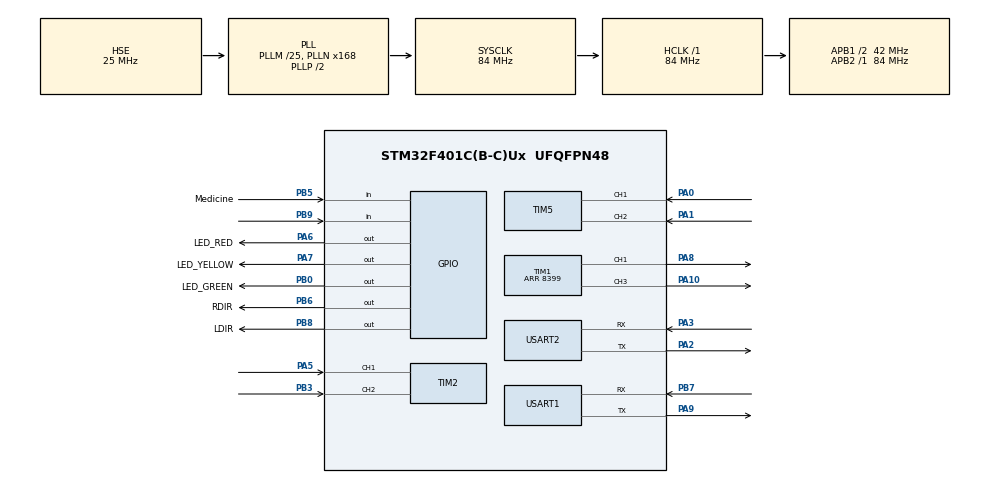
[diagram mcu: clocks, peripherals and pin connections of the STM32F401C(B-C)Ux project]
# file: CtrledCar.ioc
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Mcu.Family=STM32F4
Mcu.Name=STM32F401C(B-C)Ux
Mcu.Package=UFQFPN48
NVIC.PriorityGroup=NVIC_PRIORITYGROUP_4
NVIC.TIM3_IRQn=true\:2\:0\:true\:false\:true\:true\:true
NVIC.USART1_IRQn=true\:1\:0\:true\:false\:true\:true\:true
NVIC.USART2_IRQn=true\:1\:0\:true\:false\:true\:true\:true
PA0-WKUP.Signal=S_TIM5_CH1
PA1.Signal=S_TIM5_CH2
PA10.Signal=S_TIM1_CH3
PA2.Mode=Asynchronous
PA2.Signal=USART2_TX
PA3.Mode=Asynchronous
PA3.Signal=USART2_RX
PA5.Signal=S_TIM2_CH1_ETR
PA6.GPIO_Label=LED_RED
PA6.Signal=GPIO_Output
PA7.GPIO_Label=LED_YELLOW
PA7.Signal=GPIO_Output
PA8.Signal=S_TIM1_CH1
PA9.Mode=Asynchronous
PA9.Signal=USART1_TX
PB0.GPIO_Label=LED_GREEN
PB0.Signal=GPIO_Output
PB3.Signal=S_TIM2_CH2
PB5.GPIO_Label=Medicine
PB5.GPIO_PuPd=GPIO_PULLUP
PB5.Signal=GPIO_Input
PB6.GPIO_Label=RDIR
PB6.Signal=GPIO_Output
PB7.Mode=Asynchronous
PB7.Signal=USART1_RX
PB8.GPIO_Label=LDIR
PB8.Signal=GPIO_Output
PB9.GPIO_PuPd=GPIO_PULLDOWN
PB9.Signal=GPIO_Input
PH0\ -\ OSC_IN.Mode=HSE-External-Oscillator
PH0\ -\ OSC_IN.Signal=RCC_OSC_IN
PH1\ -\ OSC_OUT.Mode=HSE-External-Oscillator
PH1\ -\ OSC_OUT.Signal=RCC_OSC_OUT
ProjectManager.HeapSize=0x200
ProjectManager.StackSize=0x400
ProjectManager.TargetToolchain=STM32CubeIDE
RCC.48MHZClocksFreq_Value=42000000
RCC.AHBFreq_Value=84000000
RCC.APB1CLKDivider=RCC_HCLK_DIV2
RCC.APB1Freq_Value=42000000
RCC.APB1TimFreq_Value=84000000
RCC.APB2Freq_Value=84000000
RCC.APB2TimFreq_Value=84000000
RCC.CortexFreq_Value=84000000
RCC.HCLKFreq_Value=84000000
RCC.HSE_VALUE=25000000
RCC.HSI_VALUE=16000000
RCC.LSE_VALUE=32768
RCC.PLLM=25
RCC.PLLN=168
RCC.PLLSourceVirtual=RCC_PLLSOURCE_HSE
RCC.SYSCLKFreq_VALUE=84000000
RCC.SYSCLKSource=RCC_SYSCLKSOURCE_PLLCLK
RCC.VCOOutputFreq_Value=168000000
SH.S_TIM1_CH1.0=TIM1_CH1,PWM Generation1 CH1
SH.S_TIM1_CH3.0=TIM1_CH3,PWM Generation3 CH3
SH.S_TIM2_CH1_ETR.0=TIM2_CH1,Encoder_Interface
SH.S_TIM2_CH2.0=TIM2_CH2,Encoder_Interface
SH.S_TIM5_CH1.0=TIM5_CH1,Encoder_Interface
SH.S_TIM5_CH2.0=TIM5_CH2,Encoder_Interface
TIM1.Channel-PWM\ Generation1\ CH1=TIM_CHANNEL_1
TIM1.Channel-PWM\ Generation3\ CH3=TIM_CHANNEL_3
TIM1.Period=8399
TIM3.Period=999
TIM3.Prescaler=83
USART1.VirtualMode=VM_ASYNC
USART2.VirtualMode=VM_ASYNC
VP_TIM1_VS_ClockSourceINT.Mode=Internal
VP_TIM3_VS_ClockSourceINT.Mode=Internal
board=custom

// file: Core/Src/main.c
/* USER CODE BEGIN Header */
/**
  ******************************************************************************
  * @file           : main.c
  * @brief          : Main program body
  ******************************************************************************
  * @attention
  *
  * <h2><center>&copy; Copyright (c) 2021 STMicroelectronics.
  * All rights reserved.</center></h2>
  *
  * This software component is licensed by ST under BSD 3-Clause license,
  * the "License"; You may not use this file except in compliance with the
  * License. You may obtain a copy of the License at:
  *                        opensource.org/licenses/BSD-3-Clause
  *
  ******************************************************************************
  */
/* USER CODE END Header */
#include "main.h"
#include "tim.h"
#include "usart.h"
#include "gpio.h"

/* USER CODE BEGIN Includes */
#include "Debug.h"
#include "user.h"
#include "timepiece.h"
/* USER CODE END Includes */

/* USER CODE BEGIN PV */
uint8_t data, crossHistroy;
extern pid leftspd, rightspd, dir;
extern uint8_t mainState, subState, Tflag, TStateflag, delayFlag1, delayPreFlag1, delayFlag2, turnFlag, delayPreFlag2, dottedFlag, getCross, getT, forceTurn, crossState, dataFrame;
extern double shadowDirOut, basicLeftSpd, basicRightSpd;
extern char command;

task_t tasks[] = {
        {0, 10, TaskHandlerDeclare(PIDControl),  0},
        {1, 2,  TaskHandlerDeclare(StateDetect), 0},
        {2, 10, TaskHandlerDeclare(LogOutput),   0},
        {3, 2,  TaskHandlerDeclare(CrossDelay),  0}
};
/* USER CODE END PV */

void SystemClock_Config(void);

int main(void) {

    /* MCU Configuration--------------------------------------------------------*/

    /* Reset of all peripherals, Initializes the Flash interface and the Systick. */
    HAL_Init();

    /* Configure the system clock */
    SystemClock_Config();

    /* Initialize all configured peripherals */
    MX_GPIO_Init();
    MX_TIM3_Init();
    MX_USART1_UART_Init();
    MX_USART2_UART_Init();
    MX_TIM2_Init();
    MX_TIM5_Init();
    MX_TIM1_Init();
    /* USER CODE BEGIN 2 */
    HAL_TIM_Base_Start_IT(&htim3);
    SetInterruptPeriod(1);
    TaskRegister_List(tasks, 4);

    HAL_TIM_PWM_Start(&htim1, TIM_CHANNEL_1);
    HAL_TIM_PWM_Start(&htim1, TIM_CHANNEL_3);
    HAL_TIM_Encoder_Start(&htim5, TIM_CHANNEL_1);
    HAL_TIM_Encoder_Start(&htim5, TIM_CHANNEL_2);
    HAL_TIM_Encoder_Start(&htim2, TIM_CHANNEL_1);
    HAL_TIM_Encoder_Start(&htim2, TIM_CHANNEL_2);
    HAL_UART_Receive_IT(&huart1, &data, sizeof(data));
    HAL_UART_Receive_IT(&huart2, (uint8_t *) &command, sizeof(command));

    PID_Init(&leftspd, 170, 25, 0, 0);  //170 25 0 173max
    PID_Init(&rightspd, 170, 25, 0, 0); //170 25 0 173max
    PID_Init(&dir, 0.3, 0, 0, 0);

    //Debug
    mainState = STATE_MedicineRoom;
    subState = GetMedicine_TurnAround;
    /* USER CODE END 2 */

    /* Infinite loop */
    /* USER CODE BEGIN WHILE */
    while (1) {
        //State
        switch (mainState) {
            case STATE_Debug:                   //调试状�??
                ForceTurn_Start;
                Set_Speed(MAXSpeed, MAXSpeed);
                LED_ON(0);
                ForceTurn(DIR_RIGHT);
                Set_Speed(0, 0);
                ForceTurn_Start;
                HAL_Delay(500);
                ForceTurn(DIR_LEFT);
                Set_Speed(0, 0);
                ForceTurn_Start;
                HAL_Delay(500);
                break;

            case STATE_MedicineRoom:            //药房�??????????
//                DebugLog("Main state STATE_MedicineRoom");
                //prosessor
                LED_ON(LED_GREEN);
                Set_Speed(0, 0);

                //state change
                if (Get_MedicineState() == MedicineExist) {
                    Set_Speed(MAXSpeed, MAXSpeed);
                    mainState = STATE_TransportMedicine;
                }
                break;
            case STATE_TransportMedicine:       //送药�??????????
                //prosessor
                LED_ON(0);
                if (getCross) {
                    delayPreFlag1 = 1;
                    delayFlag1 = 1;
                    Set_Speed(LowSpeed, LowSpeed);
                }

                static int i = 0;
                if (getT && !i) {
                    Tflag = 1;
                    TStateflag = 1;
                    i++;
                }
                if (crossState == 1) {
                    CalibrationDelay(TurnCnt);
                    ForceTurn(DIR_LEFT);
                    if (!TStateflag) {
                        ForceTurn_Start;
                        Set_Speed(MAXSpeed, MAXSpeed);
                    }
                    if (Tflag) {
                        crossHistroy |= 1 << 1;
                        Tflag = 0;
                    } else
                        crossHistroy |= 1 << 0;
                } else if (crossState == 2) {
                    CalibrationDelay(TurnCnt);
                    ForceTurn(DIR_RIGHT);
                    if (!TStateflag) {
                        Set_Speed(MAXSpeed, MAXSpeed);
                        ForceTurn_Start;
                    }
                    if (Tflag) {
                        crossHistroy &= ~(1 << 1);
                        Tflag = 0;
                    } else
                        crossHistroy &= ~(1 << 0);
                }
                if (getT) {
                    ForceTurn_Start;
                }

                //state change
                if (dottedFlag) {
                    CalibrationDelay(DottedCnt);
                    mainState = STATE_PacientRoom;
                }
                break;
            case STATE_PacientRoom:             //病房�??????????
                //prosessor
                LED_ON(LED_RED);
                ForceTurn_Start;
                Set_Speed(0, 0);

                //state change
                if (Get_MedicineState() == MedicineNone) {
                    ForceTurn_Stop;
                    if (!TStateflag) {
                        mainState = STATE_GetMedicineMiddle;//STATE_GetMedicineMiddle
                    } else {
                        mainState = STATE_GetMedicineFar;//STATE_GetMedicineFar;
                    }
                }
                break;
            case STATE_GetMedicineMiddle:             //取药�??????????
                //prosessor
                LED_ON(0);
                UART_printf(&huart1, "pc%d\n", crossHistroy);

                //subState
                switch (subState) {
                    case GetMedicine_TurnAround:
                        //prosessor
                        ForceTurn(DIR_BACK);
                        Set_Speed(0, 0);
                        ForceTurn_Start;
                        HAL_Delay(100);
                        Set_Speed(MAXSpeed, MAXSpeed);

                        //state change
                        subState = GetMedicine_Turn;
                        break;
                    case GetMedicine_Turn:
                        //prosessor
                        CalibrationDelay(BackCnt);

//                        ForceTurn(DIR_RIGHT);
                        ForceTurn(crossHistroy & 1 ? DIR_RIGHT : DIR_LEFT);

                        //state change
                        subState = GetMedicine_Go;
                        break;
                    case GetMedicine_Go:
                        //prosessor
                        Set_Speed(MAXSpeed, MAXSpeed);

                        //state change
                        break;
                    default:;
                }

                //state change
                if (dottedFlag) {
                    CalibrationDelay(DottedCnt);
                    mainState = STATE_MedicineRoom;
                }
                break;
            case STATE_GetMedicineFar:
                //prosessor

                //subState
                switch (subState) {
                    case GetMedicine_TurnAround:
                        //prosessor
                        ForceTurn(DIR_BACK);
                        Set_Speed(0, 0);
                        ForceTurn_Start;
                        HAL_Delay(100);
                        Set_Speed(MAXSpeed, MAXSpeed);

                        //state change
                        subState = GetMedicine_Turn;
                        break;
                    case GetMedicine_Turn:
                        //prosessor
                        CalibrationDelay(BackCnt);

                        ForceTurn(crossHistroy & 1 ? DIR_RIGHT : DIR_LEFT);

                        //state change
                        subState = GetMedicine_TurnBig;
                        break;
                    case GetMedicine_TurnBig:
                        //prosessor
                        Set_Speed(MAXSpeed, MAXSpeed);

                        //state change
                        if (getCross) {
                            CalibrationDelay(CrossCnt);
                            ForceTurn(crossHistroy & 1 << 1 ? DIR_RIGHT : DIR_LEFT);
                            subState = GetMedicine_Go;
                        }
                        break;
                    case GetMedicine_Go:
                        //prosessor
                        Set_Speed(MAXSpeed, MAXSpeed);

                        //state change
                        break;
                    default:;
                }

                //state change
                if (dottedFlag) {
                    CalibrationDelay(DottedCnt);
                    mainState = STATE_MedicineRoom;
                }
                break;
            default:;
        }
        /* USER CODE END WHILE */

    }
}

void SystemClock_Config(void) {
    RCC_OscInitTypeDef RCC_OscInitStruct = {0};
    RCC_ClkInitTypeDef RCC_ClkInitStruct = {0};

    /** Configure the main internal regulator output voltage
    */
    __HAL_RCC_PWR_CLK_ENABLE();
    __HAL_PWR_VOLTAGESCALING_CONFIG(PWR_REGULATOR_VOLTAGE_SCALE2);
    /** Initializes the RCC Oscillators according to the specified parameters
    * in the RCC_OscInitTypeDef structure.
    */
    RCC_OscInitStruct.OscillatorType = RCC_OSCILLATORTYPE_HSE;
    RCC_OscInitStruct.HSEState = RCC_HSE_ON;
    RCC_OscInitStruct.PLL.PLLState = RCC_PLL_ON;
    RCC_OscInitStruct.PLL.PLLSource = RCC_PLLSOURCE_HSE;
    RCC_OscInitStruct.PLL.PLLM = 25;
    RCC_OscInitStruct.PLL.PLLN = 168;
    RCC_OscInitStruct.PLL.PLLP = RCC_PLLP_DIV2;
    RCC_OscInitStruct.PLL.PLLQ = 4;
    if (HAL_RCC_OscConfig(&RCC_OscInitStruct) != HAL_OK) {
        Error_Handler();
    }
    /** Initializes the CPU, AHB and APB buses clocks
    */
    RCC_ClkInitStruct.ClockType = RCC_CLOCKTYPE_HCLK | RCC_CLOCKTYPE_SYSCLK
                                  | RCC_CLOCKTYPE_PCLK1 | RCC_CLOCKTYPE_PCLK2;
    RCC_ClkInitStruct.SYSCLKSource = RCC_SYSCLKSOURCE_PLLCLK;
    RCC_ClkInitStruct.AHBCLKDivider = RCC_SYSCLK_DIV1;
    RCC_ClkInitStruct.APB1CLKDivider = RCC_HCLK_DIV2;
    RCC_ClkInitStruct.APB2CLKDivider = RCC_HCLK_DIV1;

    if (HAL_RCC_ClockConfig(&RCC_ClkInitStruct, FLASH_LATENCY_2) != HAL_OK) {
        Error_Handler();
    }
}

void Error_Handler(void) {
    __disable_irq();
    while (1) {
    }
}

/************************ (C) COPYRIGHT STMicroelectronics *****END OF FILE****/
